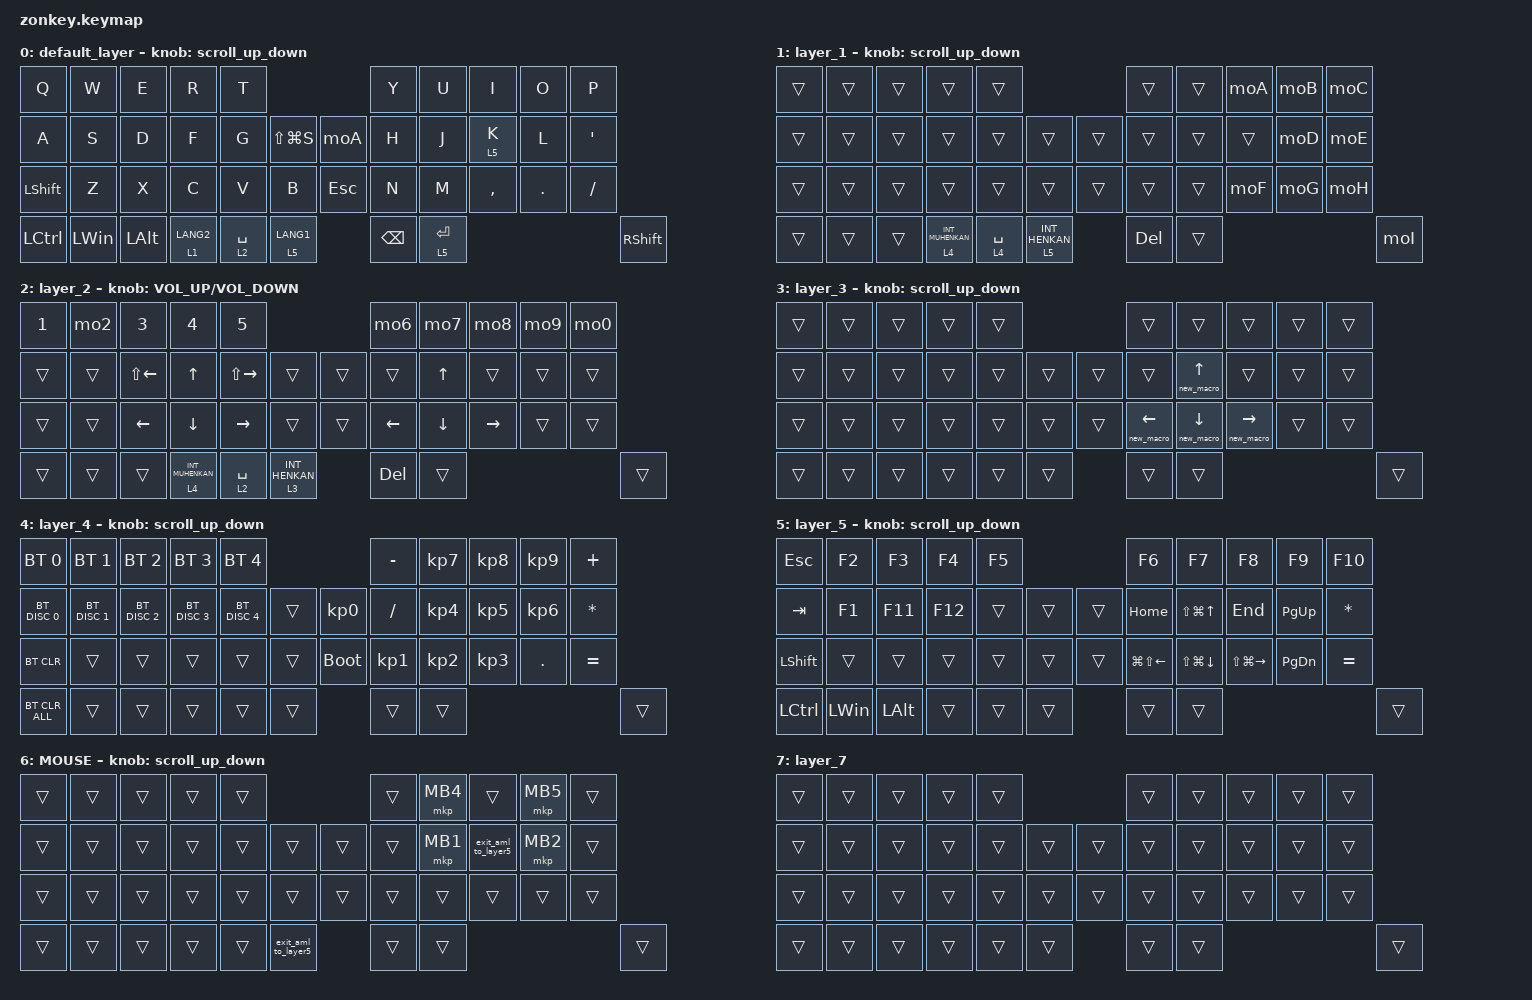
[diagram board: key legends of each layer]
#include <physical_layouts.dtsi>
#include <input/processors.dtsi>
#include <behaviors.dtsi>
#include <dt-bindings/zmk/bt.h>
#include <dt-bindings/zmk/keys.h>
#include <dt-bindings/zmk/pointing.h>

#define ZMK_POINTING_DEFAULT_SCRL_VAL 100
#define DFb 0
#define JIS 1
#define BT 4
#define MOUSE 6
#define JP_DQUOTE       AT                // "
#define JP_AMPERSAND    CARET             // &
#define JP_QUOTE        AMPERSAND         // '
#define JP_EQUAL        UNDER             // =
#define JP_CARET        EQUAL             // ^
#define JP_YEN          0x89              // ¥
#define JP_PLUS         COLON             // +
#define JP_TILDE        PLUS              // ~
#define JP_PIPE         LS(0x89)          // |
#define JP_AT           LEFT_BRACKET      // @
#define JP_COLON        SINGLE_QUOTE      // :
#define JP_ASTERISK     DOUBLE_QUOTES     // *
#define JP_BACKQUOTE    LEFT_BRACE        // `
#define JP_UNDERSCORE   LS(0x87)          // _
#define JP_LBRACKET     RIGHT_BRACKET     // [
#define JP_RBRACKET     BACKSLASH         // ]
#define JP_LPAREN       ASTERISK          // (
#define JP_RPAREN       LEFT_PARENTHESIS  // )
#define JP_LBRACE       RIGHT_BRACE       // {
#define JP_RBRACE       PIPE              // }
#define JP_KANA         LANGUAGE_1        // かな
#define JP_EISU         LANGUAGE_2        // 英数
#define JP_HANZEN       GRAVE             // 半角/全角
#define JP_BSLH  INT1         // (backslash)



&mkp_input_listener { input-processors = <&zip_temp_layer 6 250>; };

&mt {
    flavor = "balanced";
    quick-tap-ms = <0>;
};

/ {
    combos {
        compatible = "zmk,combos";

        tab {
            bindings = <&kp TAB>;
            key-positions = <10 11>;
            layers = <0>;
        };

        shift_tab {
            bindings = <&kp LS(TAB)>;
            key-positions = <11 12>;
        };

        esc {
            bindings = <&kp ESC>;
            key-positions = <0 1>;
        };

        to_layer3 {
            bindings = <&mo 3>;
            key-positions = <38 39>;
        };
    };

    macros {
        to_layer_0: to_layer_0 {
            compatible = "zmk,behavior-macro-one-param";
            #binding-cells = <1>;
            bindings = <&to 0 &macro_param_1to1 &kp MACRO_PLACEHOLDER>;
            label = "TO_LAYER_0";
        };

        exit_aml_to_layer5: exit_aml_to_layer5 {
            compatible = "zmk,behavior-macro";
            #binding-cells = <0>;
            bindings =
                <&to 0>,
                <&macro_press>,
                <&mo 5>,
                <&macro_pause_for_release>,
                <&macro_release>,
                <&mo 5>;

            label = "EXIT_AML_TO_LAYER5";
        };

        exit_5_to_layer3: exit_5_to_layer3 {
            compatible = "zmk,behavior-macro";
            #binding-cells = <0>;
            bindings =
                <&to 0>,
                <&macro_press>,
                <&mo 3>,
                <&macro_pause_for_release>,
                <&macro_release>,
                <&mo 3>;

            label = "EXIT_5_TO_LAYER3";
        };

        new_macro: new_macro {
            compatible = "zmk,behavior-macro-one-param";
            #binding-cells = <1>;
            bindings =
                <&macro_press>,
                <&kp LEFT_META &macro_param_1to1>,
                <&macro_press>,
                <&kp MACRO_PLACEHOLDER>,
                <&macro_pause_for_release>,
                <&macro_param_1to1>,
                <&macro_release>,
                <&kp MACRO_PLACEHOLDER>,
                <&macro_release>,
                <&kp LEFT_GUI>;

            label = "NEW_MACRO";
        };

    };

    behaviors {
        lt_to_layer_0: lt_to_layer_0 {
            compatible = "zmk,behavior-hold-tap";
            label = "LAYER_TAP_TO_0";
            bindings = <&mo>, <&to_layer_0>;

            #binding-cells = <2>;
            tapping-term-ms = <200>;
        };

        mo2: mo2 {
            compatible = "zmk,behavior-mod-morph";
            #binding-cells = <0>;
            bindings = <&kp N2>, <&kp AT>;

            mods = <(MOD_LSFT|MOD_RSFT)>;
        };

        mo6: mo6 {
            compatible = "zmk,behavior-mod-morph";
            #binding-cells = <0>;
            bindings = <&kp N6>, <&kp CARET>;

            mods = <(MOD_LSFT|MOD_RSFT)>;
        };

        mo7: mo7 {
            compatible = "zmk,behavior-mod-morph";
            #binding-cells = <0>;
            bindings = <&kp N7>, <&kp AMPS>;

            mods = <(MOD_LSFT|MOD_RSFT)>;
        };

        mo8: mo8 {
            compatible = "zmk,behavior-mod-morph";
            #binding-cells = <0>;
            bindings = <&kp N8>, <&kp ASTRK>;

            mods = <(MOD_LSFT|MOD_RSFT)>;
        };

        mo9: mo9 {
            compatible = "zmk,behavior-mod-morph";
            #binding-cells = <0>;
            bindings = <&kp N9>, <&kp LPAR>;

            mods = <(MOD_LSFT|MOD_RSFT)>;
        };

        mo0: mo0 {
            compatible = "zmk,behavior-mod-morph";
            #binding-cells = <0>;
            bindings = <&kp N0>, <&kp LS(N9)>;

            mods = <(MOD_LSFT|MOD_RSFT)>;
        };

        moA: moA {
            compatible = "zmk,behavior-mod-morph";
            #binding-cells = <0>;
            bindings = <&kp MINUS>, <&kp UNDERSCORE>;

            mods = <(MOD_LSFT|MOD_RSFT)>;
        };

        moB: moB {
            compatible = "zmk,behavior-mod-morph";
            #binding-cells = <0>;
            bindings = <&kp EQUAL>, <&kp PLUS>;

            mods = <(MOD_LSFT|MOD_RSFT)>;
        };

        moC: moC {
            compatible = "zmk,behavior-mod-morph";
            #binding-cells = <0>;
            bindings = <&kp INT3>, <&kp JP_PIPE>;

            mods = <(MOD_LSFT|MOD_RSFT)>;
        };

        moD: moD {
            compatible = "zmk,behavior-mod-morph";
            #binding-cells = <0>;
            bindings = <&kp LBKT>, <&kp LBRC>;

            mods = <(MOD_LSFT|MOD_RSFT)>;
        };

        moE: moE {
            compatible = "zmk,behavior-mod-morph";
            #binding-cells = <0>;
            bindings = <&kp RBKT>, <&kp RBRC>;

            mods = <(MOD_LSFT|MOD_RSFT)>;
        };

        moF: moF {
            compatible = "zmk,behavior-mod-morph";
            #binding-cells = <0>;
            bindings = <&kp SEMI>, <&kp KP_PLUS>;

            mods = <(MOD_LSFT|MOD_RSFT)>;
        };

        moG: moG {
            compatible = "zmk,behavior-mod-morph";
            #binding-cells = <0>;
            bindings = <&kp APOSTROPHE>, <&kp DQT>;

            mods = <(MOD_LSFT|MOD_RSFT)>;
        };

        moH: moH {
            compatible = "zmk,behavior-mod-morph";
            #binding-cells = <0>;
            bindings = <&kp BACKSLASH>, <&kp TILDE2>;

            mods = <(MOD_LSFT|MOD_RSFT)>;
        };

        moI: moI {
            compatible = "zmk,behavior-mod-morph";
            #binding-cells = <0>;
            bindings = <&kp JP_BSLH>, <&kp JP_UNDERSCORE>;

            mods = <(MOD_LSFT|MOD_RSFT)>;
        };

        scroll_up_down: behavior_sensor_rotate_mouse_wheel_up_down {
            compatible = "zmk,behavior-sensor-rotate";
            #sensor-binding-cells = <0>;
            bindings = <&msc SCRL_UP>, <&msc SCRL_DOWN>;

            tap-ms = <20>;
        };

        lt_layer_short: lt_layer_short {
            compatible = "zmk,behavior-hold-tap";
            label = "LT_LAYER_SHORT";
            #binding-cells = <2>;
            tapping-term-ms = <10>;
            bindings = <&mo>, <&to>;
        };
    };

    keymap {
        compatible = "zmk,keymap";

        default_layer {
            bindings = <
&kp Q           &kp W         &kp E         &kp R        &kp T                                  &kp Y          &kp U        &kp I      &kp O    &kp P
&kp A           &kp S         &kp D         &kp F        &kp G        &kp LS(LG(S))    &moA     &kp H          &kp J        &lt 5 K    &kp L    &kp SQT
&kp LEFT_SHIFT  &kp Z         &kp X         &kp C        &kp V        &kp B            &kp ESC  &kp N          &kp M        &kp COMMA  &kp DOT  &kp SLASH
&kp LCTRL       &kp LEFT_WIN  &kp LEFT_ALT  &lt 1 LANG2  &lt 2 SPACE  &lt 5 LANG1               &kp BACKSPACE  &lt 5 ENTER                                 &kp RSHFT
            >;

            #sensor-bindings = <&inc_dec_kp PAGE_UP PAGE_DOWN>;
            sensor-bindings = <&scroll_up_down>;
        };

        layer_1 {
            bindings = <
&trans  &trans  &trans  &trans              &trans                                   &trans   &trans  &moA    &moB  &moC
&trans  &trans  &trans  &trans              &trans       &trans              &trans  &trans   &trans  &trans  &moD  &moE
&trans  &trans  &trans  &trans              &trans       &trans              &trans  &trans   &trans  &moF    &moG  &moH
&trans  &trans  &trans  &lt 4 INT_MUHENKAN  &lt 4 SPACE  &lt 5 INT_HENKAN            &kp DEL  &trans                      &moI
            >;

            #sensor-bindings = <&inc_dec_kp PAGE_UP PAGE_DOWN>;
            sensor-bindings = <&scroll_up_down>;
        };

        layer_2 {
            bindings = <
&kp N1  &mo2    &kp N3        &kp N4              &kp N5                                     &mo6      &mo7      &mo8       &mo9    &mo0
&trans  &trans  &kp LS(LEFT)  &kp UP              &kp LS(RIGHT)  &trans              &trans  &trans    &kp UP    &trans     &trans  &trans
&trans  &trans  &kp LEFT      &kp DOWN            &kp RIGHT      &trans              &trans  &kp LEFT  &kp DOWN  &kp RIGHT  &trans  &trans
&trans  &trans  &trans        &lt 4 INT_MUHENKAN  &lt 2 SPACE    &lt 3 INT_HENKAN            &kp DEL   &trans                               &trans
            >;

            sensor-bindings = <&inc_dec_kp C_VOLUME_UP C_VOLUME_DOWN>;
        };

        layer_3 {
            bindings = <
&trans  &trans  &trans  &trans  &trans                    &trans           &trans           &trans            &trans  &trans
&trans  &trans  &trans  &trans  &trans  &trans    &trans  &trans           &new_macro UP    &trans            &trans  &trans
&trans  &trans  &trans  &trans  &trans  &trans    &trans  &new_macro LEFT  &new_macro DOWN  &new_macro RIGHT  &trans  &trans
&trans  &trans  &trans  &trans  &trans  &trans            &trans           &trans                                             &trans
            >;

            #sensor-bindings = <&inc_dec_kp PAGE_UP PAGE_DOWN>;
            sensor-bindings = <&scroll_up_down>;
        };

        layer_4 {
            bindings = <
&bt BT_SEL 0    &bt BT_SEL 1   &bt BT_SEL 2   &bt BT_SEL 3   &bt BT_SEL 4                              &kp MINUS        &kp KP_N7        &kp KP_N8        &kp KP_N9   &kp PLUS
&bt BT_DISC 0   &bt BT_DISC 1  &bt BT_DISC 2  &bt BT_DISC 3  &bt BT_DISC 4  &trans    &kp KP_NUMBER_0  &kp SLASH        &kp KP_N4        &kp KP_N5        &kp KP_N6   &kp ASTRK
&bt BT_CLR      &trans         &trans         &trans         &trans         &trans    &bootloader      &kp KP_NUMBER_1  &kp KP_NUMBER_2  &kp KP_NUMBER_3  &kp PERIOD  &kp EQUAL
&bt BT_CLR_ALL  &trans         &trans         &trans         &trans         &trans                     &trans           &trans                                                   &trans
            >;

            #sensor-bindings = <&inc_dec_kp PAGE_UP PAGE_DOWN>;
            sensor-bindings = <&scroll_up_down>;
        };

        layer_5 {
            bindings = <
&kp ESC    &kp F2        &kp F3        &kp F4   &kp F5                    &kp F6            &kp F7            &kp F8             &kp F9         &kp F10
&kp TAB    &kp F1        &kp F11       &kp F12  &trans  &trans    &trans  &kp HOME          &kp LS(LG(UP))    &kp END            &kp PAGE_UP    &kp ASTERISK
&kp LSHFT  &trans        &trans        &trans   &trans  &trans    &trans  &kp LG(LS(LEFT))  &kp LS(LG(DOWN))  &kp LS(LG(RIGHT))  &kp PAGE_DOWN  &kp EQUAL
&kp LCTRL  &kp LEFT_WIN  &kp LEFT_ALT  &trans   &trans  &trans            &trans            &trans                                                            &trans
            >;

            #sensor-bindings = <&inc_dec_kp PAGE_UP PAGE_DOWN>;
            sensor-bindings = <&scroll_up_down>;
        };

        MOUSE {
            bindings = <
&trans  &trans  &trans  &trans  &trans                                 &trans  &mkp MB4  &trans               &mkp MB5  &trans
&trans  &trans  &trans  &trans  &trans  &trans                 &trans  &trans  &mkp MB1  &exit_aml_to_layer5  &mkp MB2  &trans
&trans  &trans  &trans  &trans  &trans  &trans                 &trans  &trans  &trans    &trans               &trans    &trans
&trans  &trans  &trans  &trans  &trans  &exit_aml_to_layer5            &trans  &trans                                           &trans
            >;

            #sensor-bindings = <&inc_dec_kp PAGE_UP PAGE_DOWN>;
            sensor-bindings = <&scroll_up_down>;
        };

        layer_7 {
            bindings = <
&trans  &trans  &trans  &trans  &trans                    &trans  &trans  &trans  &trans  &trans
&trans  &trans  &trans  &trans  &trans  &trans    &trans  &trans  &trans  &trans  &trans  &trans
&trans  &trans  &trans  &trans  &trans  &trans    &trans  &trans  &trans  &trans  &trans  &trans
&trans  &trans  &trans  &trans  &trans  &trans            &trans  &trans                          &trans
            >;
        };
    };
};
